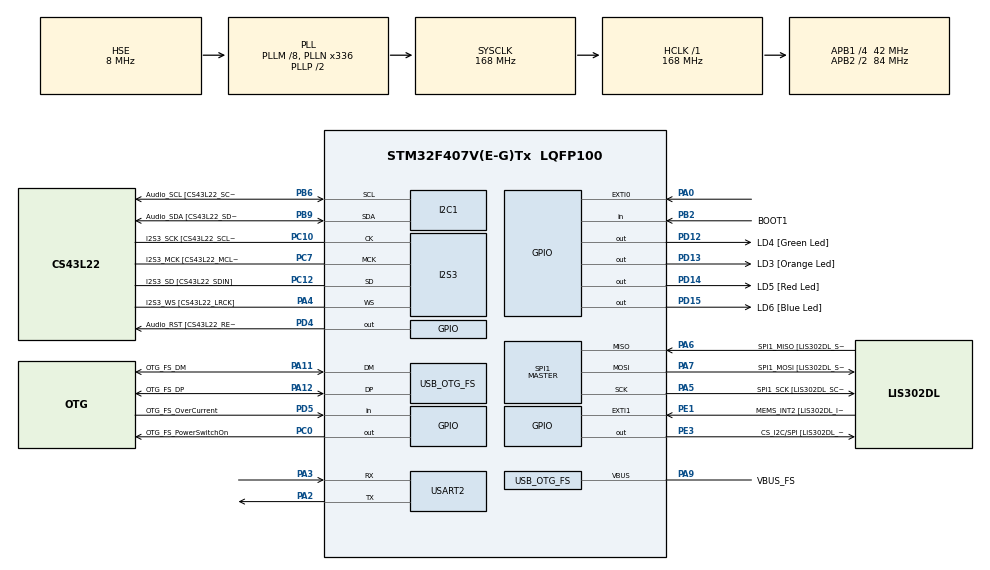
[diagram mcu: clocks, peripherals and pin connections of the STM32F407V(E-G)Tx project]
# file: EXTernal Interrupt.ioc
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I2S3.AudioFreq-Half_Duplex_Master=I2S_AUDIOFREQ_96K
I2S3.ErrorAudioFreq=-2.34 %
I2S3.ErrorAudioFreq-Half_Duplex_Master=0.8 %
I2S3.FullDuplexMode=I2S_FULLDUPLEXMODE_DISABLE
I2S3.Instance=SPI$Index
I2S3.RealAudioFreq=93.75 KHz
I2S3.RealAudioFreq-Half_Duplex_Master=96.774 KHz
I2S3.VirtualMode=I2S_MODE_MASTER
Mcu.Family=STM32F4
Mcu.Name=STM32F407V(E-G)Tx
Mcu.Package=LQFP100
NVIC.EXTI0_IRQn=true\:0\:0\:false\:false\:true\:true\:true
NVIC.OTG_FS_IRQn=true\:0\:0\:false\:false\:true\:true\:true
NVIC.PriorityGroup=NVIC_PRIORITYGROUP_0
NVIC.TIM7_IRQn=true\:0\:0\:false\:false\:true\:true\:true
NVIC.USART2_IRQn=true\:0\:0\:false\:false\:true\:true\:true
PA0-WKUP.Signal=GPXTI0
PA10.GPIO_Label=OTG_FS_ID
PA10.GPIO_Mode=GPIO_MODE_AF_PP
PA10.GPIO_PuPd=GPIO_NOPULL
PA10.GPIO_Speed=GPIO_SPEED_FREQ_LOW
PA10.Signal=USB_OTG_FS_ID
PA11.GPIO_Label=OTG_FS_DM
PA11.GPIO_Mode=GPIO_MODE_AF_PP
PA11.GPIO_PuPd=GPIO_NOPULL
PA11.GPIO_Speed=GPIO_SPEED_FREQ_LOW
PA11.Mode=Host_Only
PA11.Signal=USB_OTG_FS_DM
PA12.GPIO_Label=OTG_FS_DP
PA12.GPIO_Mode=GPIO_MODE_AF_PP
PA12.GPIO_PuPd=GPIO_NOPULL
PA12.GPIO_Speed=GPIO_SPEED_FREQ_LOW
PA12.Mode=Host_Only
PA12.Signal=USB_OTG_FS_DP
PA13.GPIO_Label=SWDIO
PA13.Mode=Serial_Wire
PA13.Signal=SYS_JTMS-SWDIO
PA14.GPIO_Label=SWCLK
PA14.Mode=Serial_Wire
PA14.Signal=SYS_JTCK-SWCLK
PA2.Mode=Asynchronous
PA2.Signal=USART2_TX
PA3.Mode=Asynchronous
PA3.Signal=USART2_RX
PA4.GPIO_Label=I2S3_WS [CS43L22_LRCK]
PA4.GPIO_Mode=GPIO_MODE_AF_PP
PA4.GPIO_PuPd=GPIO_NOPULL
PA4.GPIO_Speed=GPIO_SPEED_FREQ_LOW
PA4.Mode=Half_Duplex_Master
PA4.Signal=I2S3_WS
PA5.GPIO_Label=SPI1_SCK [LIS302DL_SCL/SPC]
PA5.GPIO_Mode=GPIO_MODE_AF_PP
PA5.GPIO_PuPd=GPIO_NOPULL
PA5.GPIO_Speed=GPIO_SPEED_FREQ_LOW
PA5.Mode=Full_Duplex_Master
PA5.Signal=SPI1_SCK
PA6.GPIO_Label=SPI1_MISO [LIS302DL_SDO]
PA6.GPIO_Mode=GPIO_MODE_AF_PP
PA6.GPIO_PuPd=GPIO_NOPULL
PA6.GPIO_Speed=GPIO_SPEED_FREQ_LOW
PA6.Mode=Full_Duplex_Master
PA6.Signal=SPI1_MISO
PA7.GPIO_Label=SPI1_MOSI [LIS302DL_SDA/SDI/SDO]
PA7.GPIO_Mode=GPIO_MODE_AF_PP
PA7.GPIO_PuPd=GPIO_NOPULL
PA7.GPIO_Speed=GPIO_SPEED_FREQ_LOW
PA7.Mode=Full_Duplex_Master
PA7.Signal=SPI1_MOSI
PA9.GPIO_Label=VBUS_FS
PA9.GPIO_Mode=GPIO_MODE_INPUT
PA9.GPIO_PuPd=GPIO_NOPULL
PA9.Mode=Activate_VBUS
PA9.Signal=USB_OTG_FS_VBUS
PB10.GPIO_Label=CLK_IN [MP45DT02_CLK]
PB10.GPIO_Mode=GPIO_MODE_AF_PP
PB10.GPIO_PuPd=GPIO_NOPULL
PB10.GPIO_Speed=GPIO_SPEED_FREQ_LOW
PB10.Signal=I2S2_CK
PB2.GPIO_Label=BOOT1
PB2.GPIO_Mode=GPIO_MODE_INPUT
PB2.GPIO_PuPd=GPIO_NOPULL
PB2.Signal=GPIO_Input
PB3.GPIO_Label=SWO
PB3.Signal=SYS_JTDO-SWO
PB6.GPIO_Label=Audio_SCL [CS43L22_SCL]
PB6.GPIO_Mode=GPIO_MODE_AF_OD
PB6.GPIO_PuPd=GPIO_NOPULL
PB6.GPIO_Speed=GPIO_SPEED_FREQ_LOW
PB6.Mode=I2C
PB6.Signal=I2C1_SCL
PB9.GPIO_Label=Audio_SDA [CS43L22_SDA]
PB9.GPIO_Mode=GPIO_MODE_AF_OD
PB9.GPIO_PuPd=GPIO_NOPULL
PB9.GPIO_Speed=GPIO_SPEED_FREQ_LOW
PB9.Mode=I2C
PB9.Signal=I2C1_SDA
PC0.GPIO_Label=OTG_FS_PowerSwitchOn
PC0.GPIO_PuPd=GPIO_NOPULL
PC0.GPIO_Speed=GPIO_SPEED_FREQ_LOW
PC0.PinState=GPIO_PIN_SET
PC0.Signal=GPIO_Output
PC10.GPIO_Label=I2S3_SCK [CS43L22_SCLK]
PC10.GPIO_Mode=GPIO_MODE_AF_PP
PC10.GPIO_PuPd=GPIO_NOPULL
PC10.GPIO_Speed=GPIO_SPEED_FREQ_LOW
PC10.Mode=Half_Duplex_Master
PC10.Signal=I2S3_CK
PC12.GPIO_Label=I2S3_SD [CS43L22_SDIN]
PC12.GPIO_Mode=GPIO_MODE_AF_PP
PC12.GPIO_PuPd=GPIO_NOPULL
PC12.GPIO_Speed=GPIO_SPEED_FREQ_LOW
PC12.Mode=Half_Duplex_Master
PC12.Signal=I2S3_SD
PC14-OSC32_IN.GPIO_Label=PC14-OSC32_IN
PC14-OSC32_IN.Signal=RCC_OSC32_IN
PC15-OSC32_OUT.GPIO_Label=PC15-OSC32_OUT
PC15-OSC32_OUT.Signal=RCC_OSC32_OUT
PC3.GPIO_Label=PDM_OUT [MP45DT02_DOUT]
PC3.GPIO_Mode=GPIO_MODE_AF_PP
PC3.GPIO_PuPd=GPIO_NOPULL
PC3.GPIO_Speed=GPIO_SPEED_FREQ_LOW
PC3.Signal=I2S2_SD
PC7.GPIO_Label=I2S3_MCK [CS43L22_MCLK]
PC7.GPIO_Mode=GPIO_MODE_AF_PP
PC7.GPIO_PuPd=GPIO_NOPULL
PC7.GPIO_Speed=GPIO_SPEED_FREQ_LOW
PC7.Mode=Master_Clock_Activated
PC7.Signal=I2S3_MCK
PD12.GPIO_Label=LD4 [Green Led]
PD12.GPIO_PuPd=GPIO_NOPULL
PD12.GPIO_Speed=GPIO_SPEED_FREQ_LOW
PD12.Signal=GPIO_Output
PD13.GPIO_Label=LD3 [Orange Led]
PD13.GPIO_PuPd=GPIO_NOPULL
PD13.GPIO_Speed=GPIO_SPEED_FREQ_LOW
PD13.Signal=GPIO_Output
PD14.GPIO_Label=LD5 [Red Led]
PD14.GPIO_PuPd=GPIO_NOPULL
PD14.GPIO_Speed=GPIO_SPEED_FREQ_LOW
PD14.Signal=GPIO_Output
PD15.GPIO_Label=LD6 [Blue Led]
PD15.GPIO_PuPd=GPIO_NOPULL
PD15.GPIO_Speed=GPIO_SPEED_FREQ_LOW
PD15.Signal=GPIO_Output
PD4.GPIO_Label=Audio_RST [CS43L22_RESET]
PD4.GPIO_PuPd=GPIO_NOPULL
PD4.GPIO_Speed=GPIO_SPEED_FREQ_LOW
PD4.Signal=GPIO_Output
PD5.GPIO_Label=OTG_FS_OverCurrent
PD5.GPIO_Mode=GPIO_MODE_INPUT
PD5.GPIO_PuPd=GPIO_NOPULL
PD5.Signal=GPIO_Input
PE1.GPIO_Label=MEMS_INT2 [LIS302DL_INT2]
PE1.GPIO_ModeDefaultEXTI=GPIO_MODE_EVT_RISING
PE1.GPIO_PuPd=GPIO_NOPULL
PE1.Signal=GPXTI1
PE3.GPIO_Label=CS_I2C/SPI [LIS302DL_CS_I2C/SPI]
PE3.GPIO_PuPd=GPIO_NOPULL
PE3.GPIO_Speed=GPIO_SPEED_FREQ_LOW
PE3.Signal=GPIO_Output
PH0-OSC_IN.GPIO_Label=PH0-OSC_IN
PH0-OSC_IN.Mode=HSE-External-Oscillator
PH0-OSC_IN.Signal=RCC_OSC_IN
PH1-OSC_OUT.GPIO_Label=PH1-OSC_OUT
PH1-OSC_OUT.Mode=HSE-External-Oscillator
PH1-OSC_OUT.Signal=RCC_OSC_OUT
ProjectManager.HeapSize=0x200
ProjectManager.StackSize=0x400
ProjectManager.TargetToolchain=TrueSTUDIO
RCC.48MHZClocksFreq_Value=48000000
RCC.AHBFreq_Value=168000000
RCC.APB1CLKDivider=RCC_HCLK_DIV4
RCC.APB1Freq_Value=42000000
RCC.APB1TimFreq_Value=84000000
RCC.APB2CLKDivider=RCC_HCLK_DIV2
RCC.APB2Freq_Value=84000000
RCC.APB2TimFreq_Value=168000000
RCC.CortexFreq_Value=168000000
RCC.HCLKFreq_Value=168000000
RCC.HSE_VALUE=8000000
RCC.HSI_VALUE=16000000
RCC.LSE_VALUE=32768
RCC.PLLM=8
RCC.PLLN=336
RCC.PLLQ=7
RCC.SYSCLKFreq_VALUE=168000000
RCC.SYSCLKSource=RCC_SYSCLKSOURCE_PLLCLK
RCC.VCOOutputFreq_Value=336000000
SPI1.BaudRatePrescaler-Full_Duplex_Master=SPI_BAUDRATEPRESCALER_2
SPI1.CalculateBaudRate-Full_Duplex_Master=42.0 MBits/s
SPI1.Direction=SPI_DIRECTION_2LINES
SPI1.Mode=SPI_MODE_MASTER
SPI1.Mode-Full_Duplex_Master=SPI_MODE_MASTER
SPI1.VirtualType=VM_MASTER
TIM7.AutoReloadPreload=TIM_AUTORELOAD_PRELOAD_ENABLE
TIM7.Period=8399
TIM7.Prescaler=9999
USART2.VirtualMode=VM_ASYNC
USB_HOST.BSP.number=1
USB_HOST.USBH_HandleTypeDef-CDC_FS=hUsbHostFS
USB_HOST.VirtualModeFS=Cdc
USB_HOST0.BSP.STBoard=false
USB_HOST0.BSP.api=Unknown
USB_HOST0.BSP.i2caddr=0
USB_HOST0.BSP.i2creg=0
USB_HOST0.BSP.instance=PC0
USB_HOST0.BSP.ip=GPIO
USB_HOST0.BSP.mode=Output
USB_HOST0.BSP.name=Drive_VBUS_FS
USB_HOST0.BSP.solution=PC0
USB_OTG_FS.VirtualMode=Host_Only
USB_OTG_FS.phy_itface=HCD_PHY_EMBEDDED
VP_TIM7_VS_ClockSourceINT.Mode=Enable_Timer
VP_USB_HOST_VS_USB_HOST_CDC_FS.Mode=CDC_FS
board=STM32F407G-DISC1

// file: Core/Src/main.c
/* USER CODE BEGIN Header */
/**
  ******************************************************************************
  * @file           : main.c
  * @brief          : Main program body
  ******************************************************************************
  * @attention
  *
  * <h2><center>&copy; Copyright (c) 2020 STMicroelectronics.
  * All rights reserved.</center></h2>
  *
  * This software component is licensed by ST under Ultimate Liberty license
  * SLA0044, the "License"; You may not use this file except in compliance with
  * the License. You may obtain a copy of the License at:
  *                             www.st.com/SLA0044
  *
  ******************************************************************************
  */
/* USER CODE END Header */
#include "main.h"
#include "i2c.h"
#include "i2s.h"
#include "spi.h"
#include "tim.h"
#include "usart.h"
#include "usb_host.h"
#include "gpio.h"

/* USER CODE BEGIN PD */
#define	MAX_BUF_SIZE		100
#define	MAX_NUM_OF_LED		4
#define	inc(counter,size)	(((counter)+1)%(size))
/* USER CODE END PD */

void SystemClock_Config(void);
void MX_USB_HOST_Process(void);

int main(void)
{

  /* MCU Configuration--------------------------------------------------------*/

  /* Reset of all peripherals, Initializes the Flash interface and the Systick. */
  HAL_Init();

  /* Configure the system clock */
  SystemClock_Config();

  /* Initialize all configured peripherals */
  MX_GPIO_Init();
  MX_I2C1_Init();
  MX_I2S3_Init();
  MX_SPI1_Init();
  MX_USB_HOST_Init();
  MX_USART2_UART_Init();
  MX_TIM7_Init();
  /* USER CODE BEGIN 2 */
  HAL_GPIO_WritePin(GPIOD,GPIO_PIN_13,GPIO_PIN_SET);
  /* USER CODE END 2 */

  /* Infinite loop */
  while (1)
  {
    MX_USB_HOST_Process();

  }
}

void SystemClock_Config(void)
{
  RCC_OscInitTypeDef RCC_OscInitStruct = {0};
  RCC_ClkInitTypeDef RCC_ClkInitStruct = {0};
  RCC_PeriphCLKInitTypeDef PeriphClkInitStruct = {0};

  /** Configure the main internal regulator output voltage
  */
  __HAL_RCC_PWR_CLK_ENABLE();
  __HAL_PWR_VOLTAGESCALING_CONFIG(PWR_REGULATOR_VOLTAGE_SCALE1);
  /** Initializes the RCC Oscillators according to the specified parameters
  * in the RCC_OscInitTypeDef structure.
  */
  RCC_OscInitStruct.OscillatorType = RCC_OSCILLATORTYPE_HSE;
  RCC_OscInitStruct.HSEState = RCC_HSE_ON;
  RCC_OscInitStruct.PLL.PLLState = RCC_PLL_ON;
  RCC_OscInitStruct.PLL.PLLSource = RCC_PLLSOURCE_HSE;
  RCC_OscInitStruct.PLL.PLLM = 8;
  RCC_OscInitStruct.PLL.PLLN = 336;
  RCC_OscInitStruct.PLL.PLLP = RCC_PLLP_DIV2;
  RCC_OscInitStruct.PLL.PLLQ = 7;
  if (HAL_RCC_OscConfig(&RCC_OscInitStruct) != HAL_OK)
  {
    Error_Handler();
  }
  /** Initializes the CPU, AHB and APB buses clocks
  */
  RCC_ClkInitStruct.ClockType = RCC_CLOCKTYPE_HCLK|RCC_CLOCKTYPE_SYSCLK
                              |RCC_CLOCKTYPE_PCLK1|RCC_CLOCKTYPE_PCLK2;
  RCC_ClkInitStruct.SYSCLKSource = RCC_SYSCLKSOURCE_PLLCLK;
  RCC_ClkInitStruct.AHBCLKDivider = RCC_SYSCLK_DIV1;
  RCC_ClkInitStruct.APB1CLKDivider = RCC_HCLK_DIV4;
  RCC_ClkInitStruct.APB2CLKDivider = RCC_HCLK_DIV2;

  if (HAL_RCC_ClockConfig(&RCC_ClkInitStruct, FLASH_LATENCY_5) != HAL_OK)
  {
    Error_Handler();
  }
  PeriphClkInitStruct.PeriphClockSelection = RCC_PERIPHCLK_I2S;
  PeriphClkInitStruct.PLLI2S.PLLI2SN = 192;
  PeriphClkInitStruct.PLLI2S.PLLI2SR = 2;
  if (HAL_RCCEx_PeriphCLKConfig(&PeriphClkInitStruct) != HAL_OK)
  {
    Error_Handler();
  }
}

/* USER CODE BEGIN 4 */
void	HAL_GPIO_EXTI_Callback(uint16_t GPIO_Pin)
{
	const	char		msg[MAX_NUM_OF_LED][MAX_BUF_SIZE] =
		{"Toggle Orange LED\n","Toggle Green LED\n",
		 "Toggle Red LED\n","Toggle Blue LED\n"};
	const	uint16_t	LED_GPIO[MAX_NUM_OF_LED] = {GPIO_PIN_13,GPIO_PIN_12,
													GPIO_PIN_14,GPIO_PIN_15};
	static	uint32_t	ptr = 0;

	HAL_GPIO_TogglePin(GPIOD,LED_GPIO[ptr]);
	HAL_UART_Transmit(&huart2,msg[ptr],strlen(msg[ptr]),10);

	ptr = inc(ptr,MAX_NUM_OF_LED);

	HAL_GPIO_TogglePin(GPIOD,LED_GPIO[ptr]);
	HAL_UART_Transmit(&huart2,msg[ptr],strlen(msg[ptr]),10);
}
/* USER CODE END 4 */

void Error_Handler(void)
{
}

/************************ (C) COPYRIGHT STMicroelectronics *****END OF FILE****/
